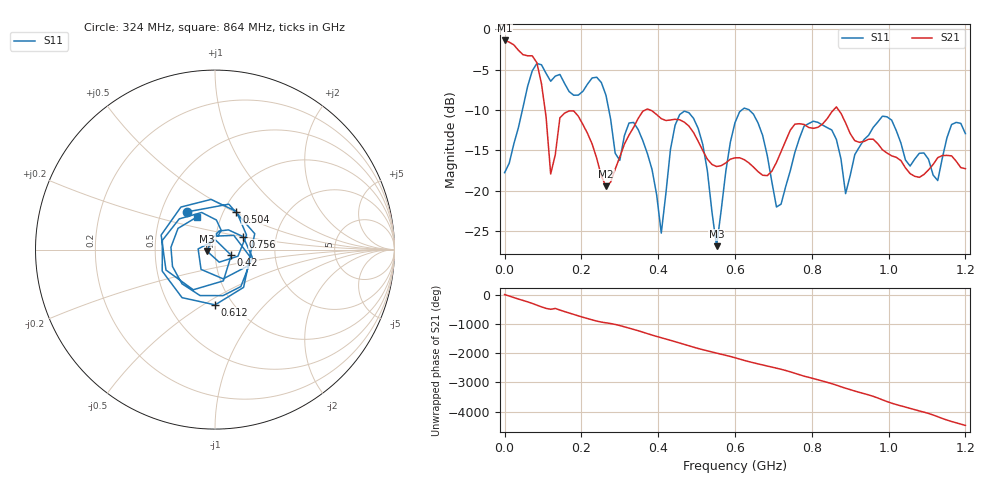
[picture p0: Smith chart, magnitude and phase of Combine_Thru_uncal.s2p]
# HZ S RI R 50
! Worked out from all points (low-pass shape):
!   101 points, 50 kHz to 1.2 GHz, reference 50 ohm
!   highest |S21| = -1.39 dB at 50 kHz (marker M1); lowest = -19.5 dB at 264 MHz (marker M2)
!   |S21| within 3 dB of the highest: start of sweep to 85.18 MHz
!   lowest |S11| = -26.9 dB at 552 MHz (marker M3), VSWR 1.09, Z = 45.7 - j0.774 ohm
!   |S11| at or under -10 dB: start of sweep to 46.4 MHz; 271.5 MHz to 618 MHz (346.5 MHz wide, 77.9 % of centre); 636.8 MHz to end of sweep
!   S12 and S22 are empty: the file has one direction only
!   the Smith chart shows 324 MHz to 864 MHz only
!   S11 on the Smith chart (normalised r, x): 324 MHz: 0.67, +0.30; 420 MHz: 1.20, -0.08; 504 MHz: 1.15, +0.52; 612 MHz: 0.83, -0.56; 756 MHz: 1.36, +0.20; 864 MHz: 0.77, +0.29
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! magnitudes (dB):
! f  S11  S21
! 50 kHz  -17.8  -1.4
! 84.05 MHz  -4.2  -4.1
! 120 MHz  -6.4  -17.9
! 204 MHz  -7.7  -11.8
! 264 MHz  -8.2  -19.5
! 300 MHz  -16.3  -15.8
! 324 MHz  -11.6  -13.1
! 408 MHz  -25.3  -11.1
! 420 MHz  -20.3  -11.3
! 456 MHz  -10.6  -11.2
! 504 MHz  -12.3  -13.9
! 552 MHz  -26.9  -17.0
! 600 MHz  -11.6  -15.9
! 612 MHz  -10.2  -15.9
! 708 MHz  -22.0  -16.5
! 756 MHz  -15.3  -11.8
! 804 MHz  -11.4  -12.3
! 864 MHz  -13.7  -9.6
! 888 MHz  -20.4  -11.6
! 1.008 GHz  -11.3  -15.7
! 1.128 GHz  -18.7  -15.9
! 1.2 GHz  -12.9  -17.3
